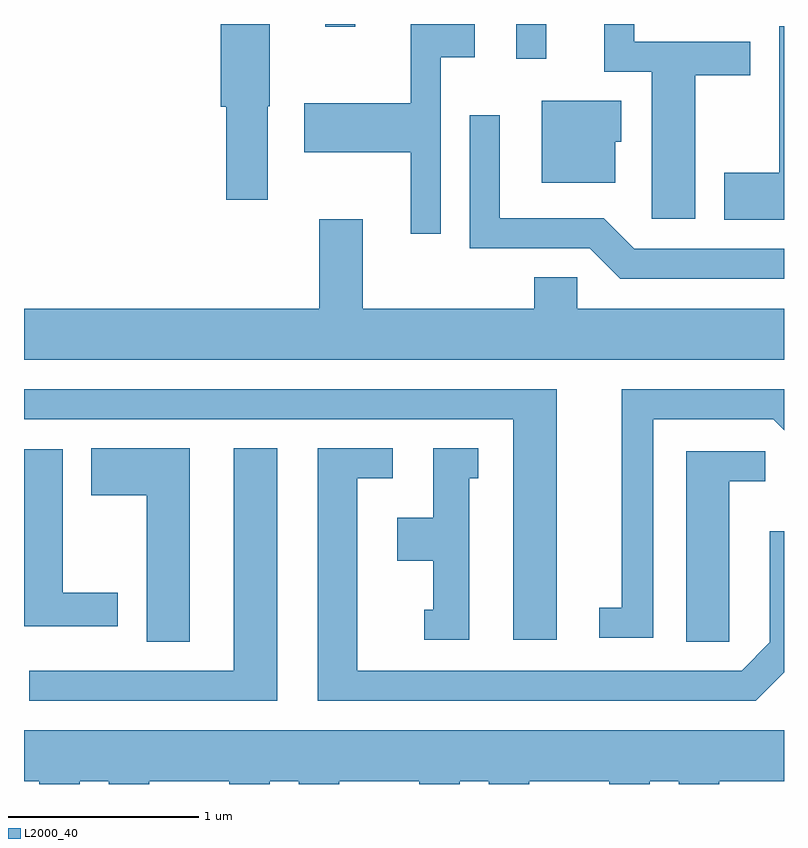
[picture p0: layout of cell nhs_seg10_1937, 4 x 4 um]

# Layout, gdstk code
import gdstk
lib = gdstk.Library(unit=1e-6, precision=1e-09)
def R(c, l, rs):  # rectangles x0, y0, x1, y1
    for r in rs: c.add(gdstk.rectangle(r[:2], r[2:], *l))
def P(c, l, *ps):  # polygons
    for p in ps: c.add(gdstk.Polygon(p, *l))
L2000_40 = (2000, 40)

nhs_seg10_1937 = lib.new_cell('nhs_seg10_1937')
R(nhs_seg10_1937, L2000_40, [(244.201,2164.338,244.359,2164.522), (243.196,2164.508,243.354,2164.522)])
P(nhs_seg10_1937, L2000_40, [(242.894,2164.09),(242.904,2164.09),(242.904,2164.522),(242.646,2164.522),(242.646,2164.086),(242.676,2164.086),(242.676,2163.596),(242.894,2163.596)],
  [(245.144,2164.251),(245.434,2164.251),(245.434,2164.429),(244.824,2164.429),(244.824,2164.522),(244.666,2164.522),(244.666,2164.271),(244.916,2164.271),(244.916,2163.496),(245.144,2163.496)],
  [(243.804,2164.346),(243.984,2164.346),(243.984,2164.522),(243.646,2164.522),(243.646,2164.104),(243.086,2164.104),(243.086,2163.846),(243.646,2163.846),(243.646,2163.418),(243.804,2163.418)],
  [(245.611,2164.509),(245.586,2164.509),(245.586,2163.739),(245.296,2163.739),(245.296,2163.491),(245.611,2163.491)],
  [(244.724,2163.901),(244.754,2163.901),(244.754,2164.119),(244.336,2164.119),(244.336,2163.686),(244.724,2163.686)],
  [(245.611,2163.339),(244.822,2163.339),(244.662,2163.499),(244.114,2163.499),(244.114,2164.043),(243.956,2164.043),(243.956,2163.341),(244.589,2163.341),(244.749,2163.181),(245.611,2163.181)],
  [(245.611,2163.024),(244.524,2163.024),(244.524,2163.189),(244.296,2163.189),(244.296,2163.024),(243.394,2163.024),(243.394,2163.494),(243.166,2163.494),(243.166,2163.024),(241.611,2163.024),(241.611,2162.756),(245.611,2162.756)],
  [(244.414,2162.599),(241.611,2162.599),(241.611,2162.441),(244.186,2162.441),(244.186,2161.281),(244.414,2161.281)],
  [(244.924,2162.441),(245.554,2162.441),(245.611,2162.384),(245.611,2162.599),(244.756,2162.599),(244.756,2161.449),(244.638,2161.449),(244.638,2161.291),(244.924,2161.291)],
  [(245.611,2161.11),(245.611,2161.853),(245.536,2161.853),(245.536,2161.267),(245.389,2161.119),(243.364,2161.119),(243.364,2162.131),(243.553,2162.131),(243.553,2162.289),(243.156,2162.289),(243.156,2160.961),(245.462,2160.961)],
  [(243.954,2162.131),(244.003,2162.131),(244.003,2162.289),(243.766,2162.289),(243.766,2161.924),(243.576,2161.924),(243.576,2161.696),(243.766,2161.696),(243.766,2161.439),(243.718,2161.439),(243.718,2161.281),(243.954,2161.281)],
  [(242.484,2162.289),(241.966,2162.289),(241.966,2162.041),(242.256,2162.041),(242.256,2161.271),(242.484,2161.271)],
  [(242.944,2162.289),(242.716,2162.289),(242.716,2161.119),(241.638,2161.119),(241.638,2160.961),(242.944,2160.961)],
  [(242.104,2161.529),(241.814,2161.529),(241.814,2162.284),(241.611,2162.284),(241.611,2161.351),(242.104,2161.351)],
  [(245.324,2162.116),(245.513,2162.116),(245.513,2162.274),(245.096,2162.274),(245.096,2161.271),(245.324,2161.271)],
  [(241.904,2160.536),(242.056,2160.536),(242.056,2160.522),(242.269,2160.522),(242.269,2160.536),(242.691,2160.536),(242.691,2160.522),(242.904,2160.522),(242.904,2160.536),(243.056,2160.536),(243.056,2160.522),(243.269,2160.522),(243.269,2160.536),(243.691,2160.536),(243.691,2160.522),(243.904,2160.522),(243.904,2160.536),(244.056,2160.536),(244.056,2160.522),(244.269,2160.522),(244.269,2160.536),(244.691,2160.536),(244.691,2160.522),(244.904,2160.522),(244.904,2160.536),(245.056,2160.536),(245.056,2160.522),(245.269,2160.522),(245.269,2160.536),(245.611,2160.536),(245.611,2160.804),(241.611,2160.804),(241.611,2160.536),(241.691,2160.536),(241.691,2160.522),(241.904,2160.522)])

lib.write_gds('nhs_seg10_1937.gds')
